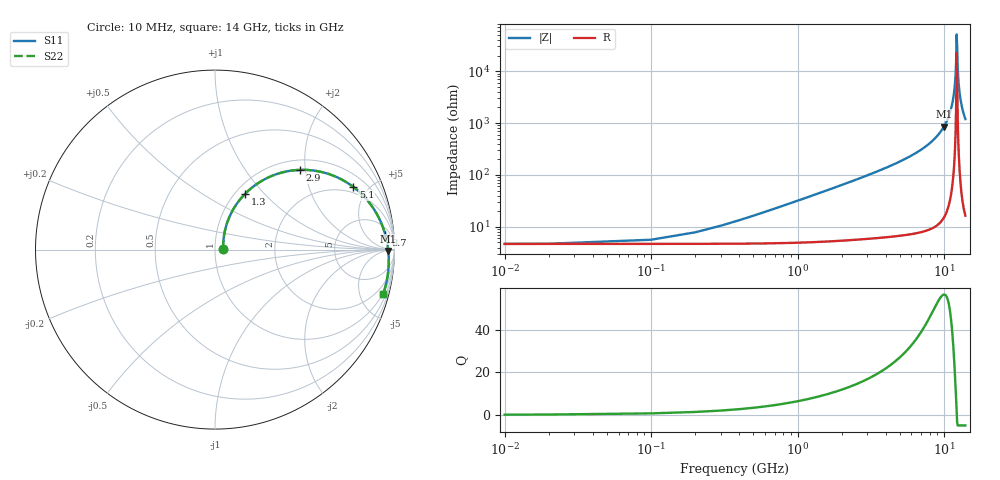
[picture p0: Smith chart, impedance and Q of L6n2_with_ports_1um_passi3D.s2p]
#  GHZ S DB R 50.0
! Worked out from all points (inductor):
!   142 points, 10 MHz to 14 GHz, reference 50 ohm
!   read as one part in series: L = 4.99 nH near 500 MHz
!   highest Q = 56.5 at 10 GHz (marker M1), where L = 13.7 nH
!   self-resonance near 12.2 GHz
!   S11 on the Smith chart (normalised r, x): 10 MHz: 1.09, +0.01; 1.3 GHz: 1.11, +0.78; 2.9 GHz: 1.22, +1.87; 5.1 GHz: 1.63, +4.00; 8.7 GHz: 10, +18; 14 GHz: 0.95, -7.65
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0.01  -26.96 3.4  -0.40 -0.2  -0.40 -0.2  -26.96 3.4
0.6  -15.29 65.9  -0.59 -10.8  -0.59 -10.8  -15.29 65.9
1.3  -9.07 61.7  -1.11 -22.4  -1.11 -22.4  -9.07 61.7
2.4  -4.83 48.7  -2.40 -37.9  -2.40 -37.9  -4.83 48.7
2.9  -3.76 43.2  -3.11 -43.9  -3.11 -43.9  -3.76 43.2
4.7  -1.70 27.3  -6.04 -60.8  -6.04 -60.8  -1.70 27.3
5.1  -1.45 24.4  -6.74 -63.8  -6.74 -63.8  -1.45 24.4
7.1  -0.70 12.5  -10.63 -76.2  -10.63 -76.2  -0.70 12.5
8.7  -0.42 4.9  -14.53 -84.0  -14.53 -84.0  -0.42 4.9
9.4  -0.35 2.0  -16.69 -87.0  -16.69 -87.0  -0.35 1.9
10  -0.30 -0.5  -18.95 -89.4  -18.95 -89.4  -0.30 -0.5
11  -0.26 -4.3  -24.39 -93.0  -24.39 -93.0  -0.26 -4.3
11.7  -0.24 -6.8  -31.82 -94.6  -31.82 -94.6  -0.24 -6.8
12  -0.24 -7.9  -38.99 -93.3  -38.99 -93.3  -0.24 -7.9
12.1  -0.24 -8.2  -43.76 -90.6  -43.76 -90.6  -0.24 -8.2
12.2  -0.24 -8.6  -54.46 -72.3  -54.46 -72.3  -0.24 -8.6
12.3  -0.24 -8.9  -50.11 65.9  -50.11 65.9  -0.24 -8.9
12.4  -0.24 -9.3  -42.22 74.8  -42.22 74.8  -0.24 -9.3
12.5  -0.24 -9.6  -38.14 76.8  -38.14 76.8  -0.24 -9.6
12.7  -0.24 -10.3  -33.30 77.7  -33.30 77.7  -0.24 -10.3
13.2  -0.25 -12.0  -27.05 77.1  -27.05 77.1  -0.25 -12.0
14  -0.27 -14.7  -21.95 74.7  -21.95 74.7  -0.27 -14.7
